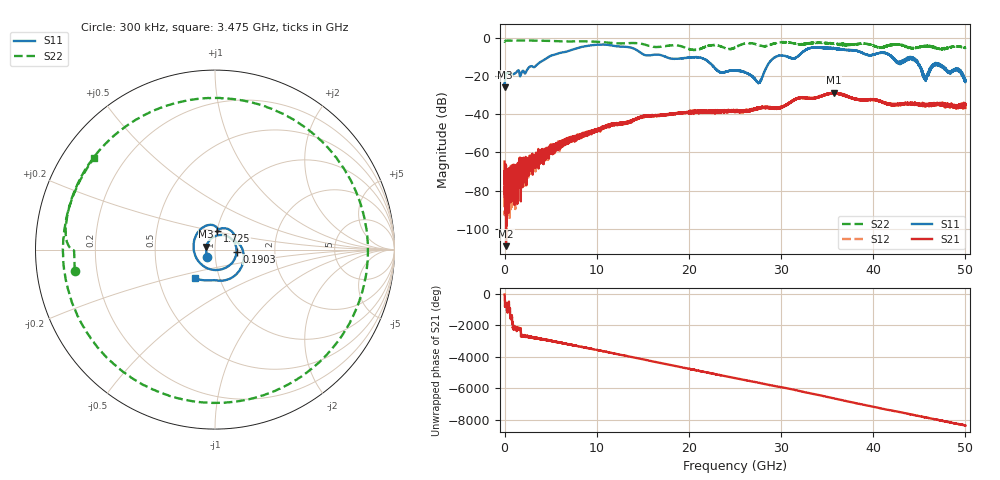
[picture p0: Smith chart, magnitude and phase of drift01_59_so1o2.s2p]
!Created with skrf (http://scikit-rf.org).
# Hz S RI R 50.0
!freq ReS11 ImS11 ReS21 ImS21 ReS12 ImS12 ReS22 ImS22
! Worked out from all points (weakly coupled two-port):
!   10001 points, 300 kHz to 50 GHz, reference 50 ohm
!   highest |S21| = -28.68 dB at 35.7 GHz (marker M1); lowest = -109.0 dB at 160.3 MHz (marker M2)
!   lowest |S11| = -25.8 dB at 5.3 MHz (marker M3), VSWR 1.11, Z = 45.3 + j1.41 ohm
!   |S11| at or under -10 dB: start of sweep to 4.765 GHz; 17.51 GHz to 29.37 GHz (11.86 GHz wide, 50.6 % of centre); 44 GHz to end of sweep (the widest 3 of 10)
!   |S22| runs from -6.4 to -1.4 dB; largest |S21 - S12| = 0.004
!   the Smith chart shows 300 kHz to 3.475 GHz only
!   S11 on the Smith chart (normalised r, x): 300 kHz: 0.91, -0.08; 190.3 MHz: 1.27, -0.03; 1.725 GHz: 1.00, +0.21; 3.475 GHz: 0.77, -0.25
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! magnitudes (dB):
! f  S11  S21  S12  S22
! 300 kHz  -24.0  -64.8  -71.1  -2.0
! 5.3 MHz  -25.8  -76.3  -79.3  -2.1
! 160.3 MHz  -18.5  -109.0  -82.4  -1.4
! 190.3 MHz  -18.3  -69.2  -73.8  -1.4
! 1.725 GHz  -19.8  -73.9  -68.0  -1.4
! 3.475 GHz  -14.2  -61.4  -61.5  -1.5
! 8.335 GHz  -4.8  -50.5  -51.1  -1.8
! 16.67 GHz  -8.7  -40.6  -40.8  -4.8
! 21.2 GHz  -10.3  -38.7  -38.5  -5.8
! 23.38 GHz  -18.0  -38.4  -38.3  -4.3
! 25 GHz  -17.0  -38.2  -38.8  -5.0
! 27.59 GHz  -23.4  -36.8  -36.6  -3.8
! 29.28 GHz  -10.3  -36.9  -36.8  -2.9
! 31.47 GHz  -10.7  -32.3  -32.4  -2.9
! 33.34 GHz  -5.1  -31.6  -31.7  -2.7
! 35.7 GHz  -5.5  -28.7  -29.0  -3.0
! 41.67 GHz  -8.6  -34.5  -34.8  -4.1
! 42.8 GHz  -12.9  -35.1  -34.7  -3.5
! 44.43 GHz  -11.0  -34.7  -34.4  -5.4
! 45.63 GHz  -20.9  -35.0  -35.3  -4.3
! 46.95 GHz  -13.5  -34.6  -34.5  -5.4
! 50 GHz  -22.1  -36.7  -35.2  -5.2
